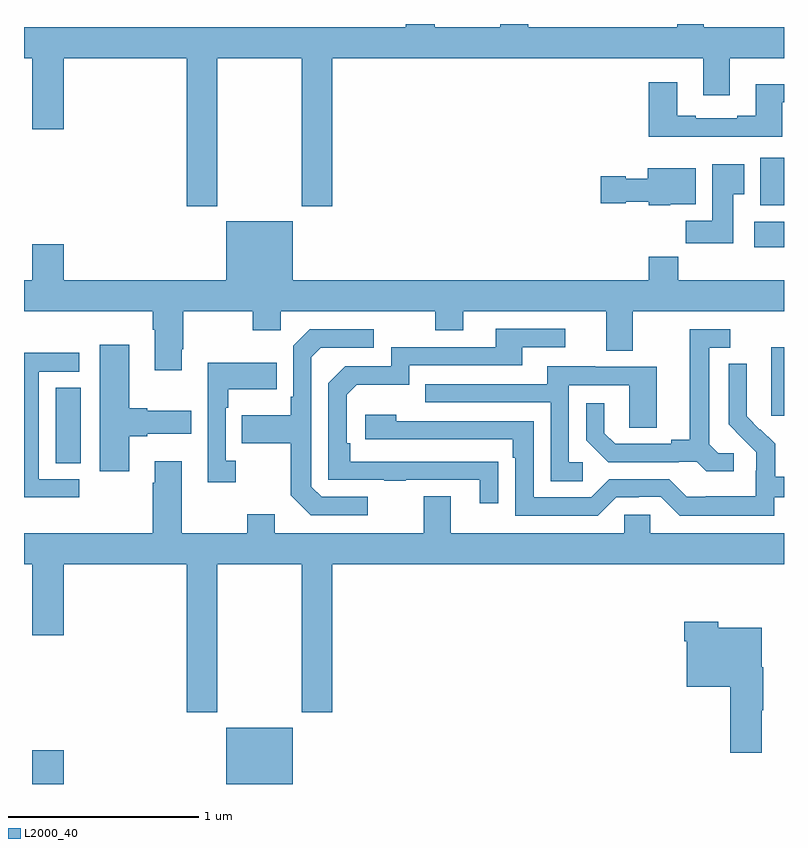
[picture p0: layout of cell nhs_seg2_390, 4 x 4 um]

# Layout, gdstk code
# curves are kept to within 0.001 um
import gdstk
lib = gdstk.Library(unit=1e-6, precision=1e-09)
def R(c, l, rs):  # rectangles x0, y0, x1, y1
    for r in rs: c.add(gdstk.rectangle(r[:2], r[2:], *l))
def P(c, l, *ps):  # polygons
    for p in ps: c.add(gdstk.Polygon(p, *l))
L2000_40 = (2000, 40)

nhs_seg2_390 = lib.new_cell('nhs_seg2_390')
R(nhs_seg2_390, L2000_40, [(129.044,659.8,129.208,659.977), (130.064,659.8,130.414,660.097), (129.167,661.489,129.298,661.886), (132.932,661.737,133,662.098), (132.843,662.624,133,662.758), (132.875,662.846,133,663.097)])
P(nhs_seg2_390, L2000_40, [(130.017,663.62),(130.462,663.62),(130.462,662.841),(130.622,662.841),(130.622,663.62),(132.575,663.62),(132.575,663.426),(132.715,663.426),(132.715,663.62),(133,663.62),(133,663.784),(132.577,663.784),(132.577,663.8),(132.437,663.8),(132.437,663.784),(131.653,663.784),(131.653,663.8),(131.506,663.8),(131.506,663.784),(131.161,663.784),(131.161,663.8),(131.009,663.8),(131.009,663.784),(129,663.784),(129,663.62),(129.044,663.62),(129.044,663.246),(129.208,663.246),(129.208,663.62),(129.857,663.62),(129.857,662.841),(130.017,662.841)],
  [(132.991,663.387),(133,663.387),(133,663.484),(132.851,663.484),(132.851,663.316),(132.755,663.316),(132.755,663.303),(132.535,663.303),(132.535,663.316),(132.439,663.316),(132.439,663.493),(132.287,663.493),(132.287,663.206),(132.991,663.206)],
  [(132.733,662.905),(132.79,662.905),(132.79,663.061),(132.623,663.061),(132.623,662.764),(132.484,662.764),(132.484,662.646),(132.733,662.646)],
  [(132.402,662.852),(132.535,662.852),(132.535,663.04),(132.284,663.04),(132.284,662.986),(132.168,662.986),(132.168,662.999),(132.036,662.999),(132.036,662.857),(132.168,662.857),(132.168,662.864),(132.288,662.864),(132.288,662.846),(132.402,662.846)],
  [(129.829,662.089),(129.837,662.089),(129.837,662.288),(130.204,662.288),(130.204,662.189),(130.35,662.189),(130.35,662.288),(131.164,662.288),(131.164,662.189),(131.311,662.189),(131.311,662.288),(132.065,662.288),(132.065,662.08),(132.205,662.08),(132.205,662.288),(133,662.288),(133,662.452),(132.443,662.452),(132.443,662.576),(132.287,662.576),(132.287,662.452),(130.414,662.452),(130.414,662.761),(130.064,662.761),(130.064,662.452),(129.208,662.452),(129.208,662.641),(129.044,662.641),(129.044,662.452),(129,662.452),(129,662.288),(129.677,662.288),(129.677,662.192),(129.689,662.192),(129.689,661.977),(129.829,661.977)],
  [(131.495,661.496),(130.718,661.497),(130.718,661.594),(130.698,661.594),(130.698,661.848),(130.751,661.901),(131.028,661.901),(131.028,662.004),(131.623,662.004),(131.623,662.1),(131.848,662.1),(131.848,662.196),(131.483,662.196),(131.483,662.1),(130.932,662.1),(130.932,661.998),(130.692,661.998),(130.602,661.908),(130.602,661.401),(130.897,661.401),(130.897,661.396),(131.009,661.396),(131.009,661.401),(131.399,661.401),(131.399,661.278),(131.495,661.278)],
  [(130.81,661.311),(130.566,661.311),(130.512,661.365),(130.512,662.046),(130.563,662.097),(130.84,662.097),(130.84,662.193),(130.503,662.193),(130.416,662.106),(130.416,661.837),(130.404,661.837),(130.404,661.741),(130.147,661.741),(130.147,661.594),(130.404,661.594),(130.404,661.321),(130.509,661.215),(130.81,661.215)],
  [(132.736,661.542),(132.654,661.542),(132.607,661.589),(132.607,662.097),(132.718,662.097),(132.718,662.193),(132.503,662.193),(132.503,661.613),(132.407,661.613),(132.407,661.59),(132.112,661.59),(132.055,661.647),(132.055,661.804),(131.958,661.804),(131.958,661.61),(132.074,661.494),(132.446,661.494),(132.446,661.497),(132.54,661.497),(132.592,661.445),(132.736,661.445)],
  [(129.553,661.631),(129.649,661.631),(129.649,661.643),(129.88,661.643),(129.88,661.765),(129.649,661.765),(129.649,661.778),(129.553,661.778),(129.553,662.113),(129.398,662.113),(129.398,661.446),(129.553,661.446)],
  [(129.292,661.404),(129.078,661.404),(129.078,661.971),(129.292,661.971),(129.292,662.07),(129,662.07),(129,661.308),(129.292,661.308)],
  [(130.114,661.502),(130.062,661.502),(130.062,661.781),(130.075,661.781),(130.075,661.877),(130.331,661.877),(130.331,662.017),(129.966,662.017),(129.966,661.389),(130.114,661.389)],
  [(132.948,661.308),(133,661.308),(133,661.417),(132.953,661.417),(132.953,661.591),(132.876,661.668),(132.873,661.665),(132.803,661.736),(132.804,662.012),(132.708,662.012),(132.708,661.694),(132.854,661.546),(132.854,661.449),(132.852,661.449),(132.852,661.315),(132.589,661.315),(132.589,661.311),(132.489,661.311),(132.396,661.404),(132.081,661.404),(131.985,661.308),(131.682,661.308),(131.682,661.71),(130.958,661.71),(130.958,661.744),(130.797,661.744),(130.797,661.614),(131.573,661.614),(131.573,661.517),(131.586,661.517),(131.586,661.212),(132.021,661.212),(132.117,661.308),(132.236,661.308),(132.236,661.311),(132.351,661.311),(132.451,661.211),(132.948,661.211)],
  [(131.941,661.494),(131.868,661.494),(131.868,661.899),(132.186,661.899),(132.186,661.675),(132.331,661.675),(132.331,661.995),(132.007,661.995),(132.007,661.999),(131.753,661.999),(131.753,661.905),(131.113,661.905),(131.113,661.809),(131.772,661.809),(131.772,661.393),(131.941,661.393)],
  [(130.017,660.956),(130.462,660.956),(130.462,660.177),(130.622,660.177),(130.622,660.956),(133,660.956),(133,661.12),(132.297,661.12),(132.297,661.218),(132.159,661.218),(132.159,661.12),(131.245,661.12),(131.245,661.315),(131.105,661.315),(131.105,661.12),(130.321,661.12),(130.321,661.219),(130.174,661.219),(130.174,661.12),(129.829,661.12),(129.829,661.498),(129.689,661.498),(129.689,661.385),(129.677,661.385),(129.677,661.12),(129,661.12),(129,660.956),(129.044,660.956),(129.044,660.582),(129.208,660.582),(129.208,660.956),(129.857,660.956),(129.857,660.177),(130.017,660.177)],
  [(132.883,660.187),(132.891,660.187),(132.891,660.415),(132.883,660.415),(132.883,660.622),(132.654,660.622),(132.654,660.655),(132.476,660.655),(132.476,660.551),(132.488,660.551),(132.488,660.311),(132.716,660.311),(132.716,659.964),(132.883,659.964)])

lib.write_gds('nhs_seg2_390.gds')
